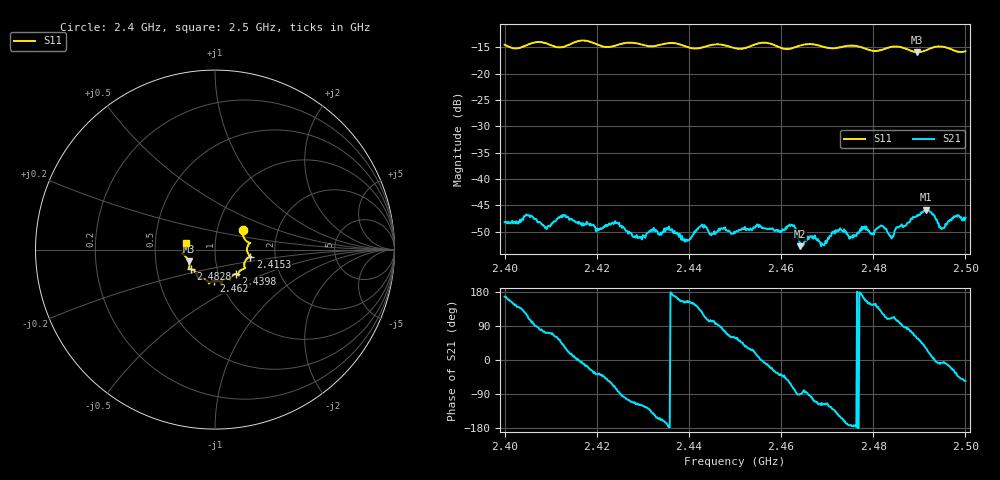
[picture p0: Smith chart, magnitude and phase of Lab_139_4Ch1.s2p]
# Hz S RI R 50
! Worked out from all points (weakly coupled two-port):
!   601 points, 2.4 GHz to 2.5 GHz, reference 50 ohm
!   highest |S21| = -45.87 dB at 2.4915 GHz (marker M1); lowest = -52.8 dB at 2.4642 GHz (marker M2)
!   lowest |S11| = -15.9 dB at 2.4895 GHz (marker M3), VSWR 1.38, Z = 37 - j5.02 ohm
!   |S11| at or under -10 dB: start of sweep to end of sweep
!   S12 and S22 are empty: the file has one direction only
!   S11 on the Smith chart (normalised r, x): 2.4 GHz: 1.33, +0.30; 2.4153 GHz: 1.48, -0.12; 2.4398 GHz: 1.21, -0.34; 2.462 GHz: 0.93, -0.33; 2.4828 GHz: 0.74, -0.17; 2.5 GHz: 0.72, +0.06
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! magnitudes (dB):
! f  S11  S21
! 2.4 GHz  -14.5  -48.2
! 2.4153 GHz  -14.0  -48.2
! 2.4167 GHz  -13.7  -48.4
! 2.4243 GHz  -14.6  -48.4
! 2.4293 GHz  -14.4  -51.0
! 2.4333 GHz  -14.6  -50.5
! 2.4398 GHz  -15.0  -51.7
! 2.4428 GHz  -15.0  -48.7
! 2.45 GHz  -15.1  -50.3
! 2.462 GHz  -15.2  -48.9
! 2.4642 GHz  -14.6  -52.8
! 2.4667 GHz  -14.4  -51.2
! 2.469 GHz  -14.8  -52.5
! 2.4723 GHz  -15.1  -49.7
! 2.4753 GHz  -14.6  -50.9
! 2.478 GHz  -15.1  -49.2
! 2.4828 GHz  -15.2  -49.5
! 2.4833 GHz  -15.0  -50.4
! 2.4895 GHz  -15.9  -46.9
! 2.4915 GHz  -15.5  -45.9
! 2.4948 GHz  -14.8  -49.5
! 2.5 GHz  -15.7  -47.4
